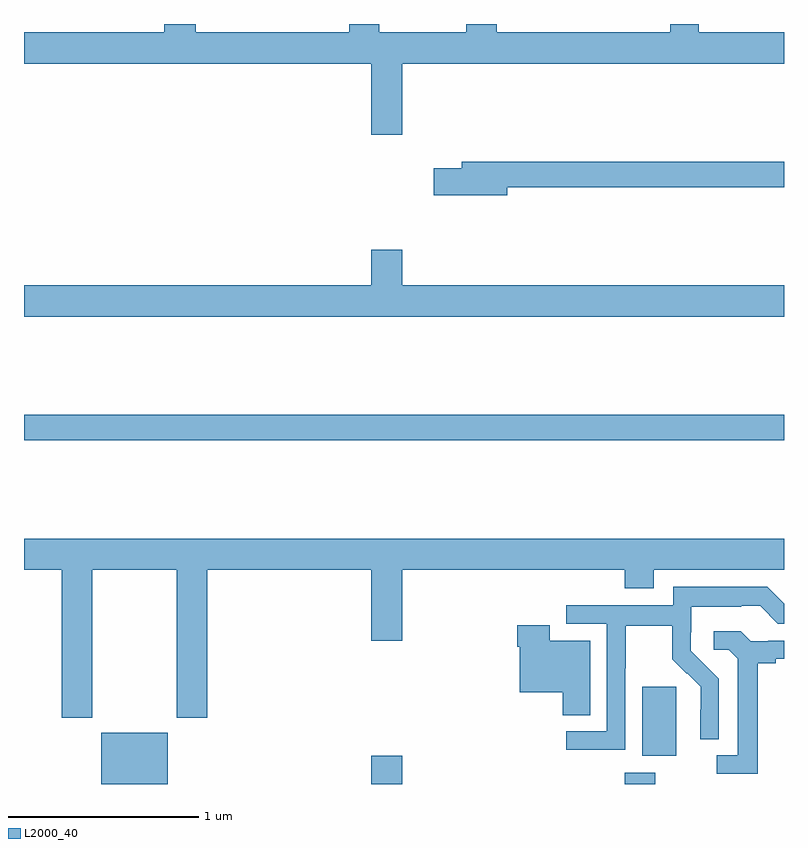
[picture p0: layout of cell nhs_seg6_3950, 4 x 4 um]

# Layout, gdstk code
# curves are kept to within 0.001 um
import gdstk
lib = gdstk.Library(unit=1e-6, precision=1e-09)
def R(c, l, rs):  # rectangles x0, y0, x1, y1
    for r in rs: c.add(gdstk.rectangle(r[:2], r[2:], *l))
def P(c, l, *ps):  # polygons
    for p in ps: c.add(gdstk.Polygon(p, *l))
L2000_40 = (2000, 40)

nhs_seg6_3950 = lib.new_cell('nhs_seg6_3950')
R(nhs_seg6_3950, L2000_40, [(343.406,987.5,343.756,987.769), (344.828,987.5,344.992,987.649), (346.163,987.5,346.323,987.559), (346.253,987.65,346.432,988.011), (343,989.308,347,989.444)])
P(nhs_seg6_3950, L2000_40, [(344.992,991.292),(347,991.292),(347,991.456),(346.552,991.456),(346.552,991.5),(346.4,991.5),(346.4,991.456),(345.488,991.456),(345.488,991.5),(345.328,991.5),(345.328,991.456),(344.871,991.456),(344.871,991.5),(344.711,991.5),(344.711,991.456),(343.904,991.456),(343.904,991.5),(343.739,991.5),(343.739,991.456),(343,991.456),(343,991.292),(344.828,991.292),(344.828,990.918),(344.992,990.918)],
  [(345.544,990.64),(347,990.64),(347,990.776),(345.305,990.776),(345.305,990.74),(345.156,990.74),(345.156,990.598),(345.544,990.598)],
  [(347,990.124),(344.992,990.124),(344.992,990.313),(344.828,990.313),(344.828,990.124),(343,990.124),(343,989.96),(347,989.96)],
  [(343.359,988.628),(343.804,988.628),(343.804,987.849),(343.964,987.849),(343.964,988.628),(344.828,988.628),(344.828,988.254),(344.992,988.254),(344.992,988.628),(346.163,988.628),(346.163,988.529),(346.315,988.529),(346.315,988.628),(347,988.628),(347,988.792),(343,988.792),(343,988.628),(343.199,988.628),(343.199,987.849),(343.359,987.849)],
  [(346.164,988.108),(346.167,988.108),(346.167,988.332),(346.411,988.332),(346.411,988.157),(346.488,988.08),(346.491,988.083),(346.562,988.013),(346.562,987.89),(346.56,987.89),(346.56,987.736),(346.656,987.736),(346.656,988.054),(346.51,988.202),(346.51,988.299),(346.512,988.299),(346.512,988.433),(346.775,988.433),(346.775,988.437),(346.875,988.437),(346.968,988.344),(347,988.344),(347,988.45),(346.913,988.537),(346.416,988.537),(346.416,988.44),(345.855,988.44),(345.855,988.344),(346.068,988.344),(346.068,987.777),(345.855,987.777),(345.855,987.679),(346.164,987.679)],
  [(345.979,988.255),(345.766,988.255),(345.766,988.336),(345.596,988.336),(345.596,988.223),(345.608,988.223),(345.608,987.983),(345.836,987.983),(345.836,987.862),(345.979,987.862)],
  [(346.861,988.136),(346.957,988.136),(346.957,988.158),(347,988.158),(347,988.254),(346.918,988.254),(346.918,988.251),(346.824,988.251),(346.772,988.303),(346.629,988.303),(346.629,988.206),(346.71,988.206),(346.757,988.159),(346.757,987.651),(346.647,987.651),(346.647,987.555),(346.861,987.555)])

lib.write_gds('nhs_seg6_3950.gds')
